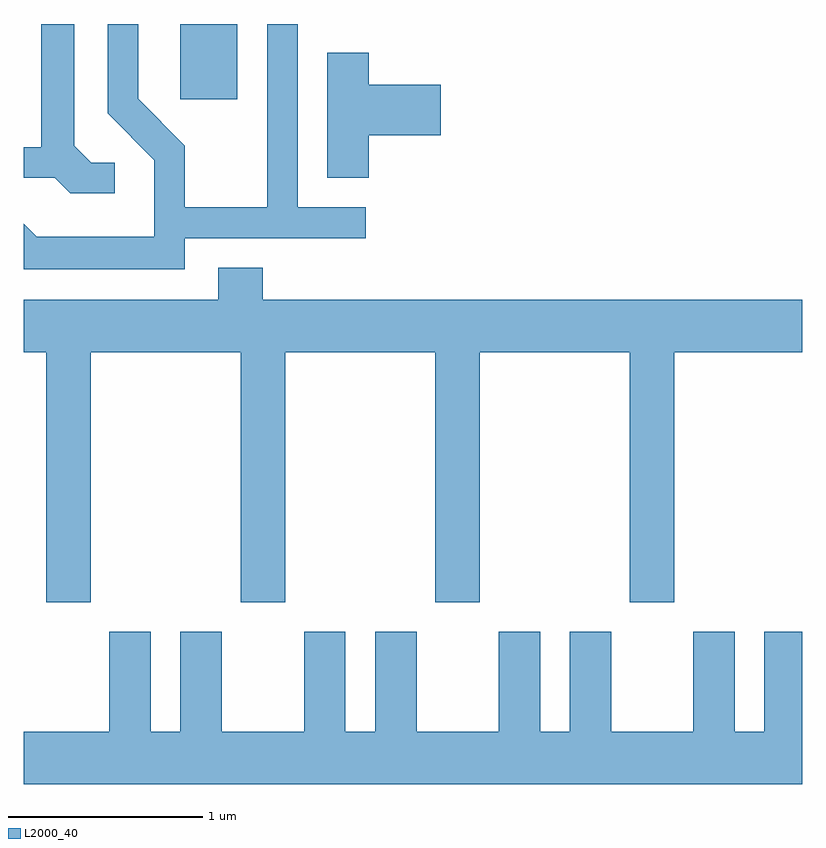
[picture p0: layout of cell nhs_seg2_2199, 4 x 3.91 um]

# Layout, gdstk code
import gdstk
lib = gdstk.Library(unit=1e-6, precision=1e-09)
def R(c, l, rs):  # rectangles x0, y0, x1, y1
    for r in rs: c.add(gdstk.rectangle(r[:2], r[2:], *l))
def P(c, l, *ps):  # polygons
    for p in ps: c.add(gdstk.Polygon(p, *l))
L2000_40 = (2000, 40)

nhs_seg2_2199 = lib.new_cell('nhs_seg2_2199')
R(nhs_seg2_2199, L2000_40, [(250.416,1027.416,250.709,1027.802)])
P(nhs_seg2_2199, L2000_40, [(250.439,1026.701),(251.368,1026.701),(251.368,1026.859),(251.019,1026.859),(251.019,1027.802),(250.861,1027.802),(250.861,1026.859),(250.439,1026.859),(250.439,1027.177),(250.199,1027.417),(250.199,1027.802),(250.041,1027.802),(250.041,1027.344),(250.281,1027.103),(250.281,1026.709),(249.677,1026.709),(249.611,1026.775),(249.611,1026.541),(250.439,1026.541)],
  [(250.078,1027.089),(249.957,1027.089),(249.869,1027.177),(249.869,1027.802),(249.701,1027.802),(249.701,1027.169),(249.611,1027.169),(249.611,1027.011),(249.769,1027.011),(249.849,1026.931),(250.078,1026.931)],
  [(251.384,1027.231),(251.754,1027.231),(251.754,1027.489),(251.384,1027.489),(251.384,1027.654),(251.171,1027.654),(251.171,1027.011),(251.384,1027.011)],
  [(249.954,1026.116),(250.726,1026.116),(250.726,1024.831),(250.954,1024.831),(250.954,1026.116),(251.726,1026.116),(251.726,1024.831),(251.954,1024.831),(251.954,1026.116),(252.726,1026.116),(252.726,1024.831),(252.954,1024.831),(252.954,1026.116),(253.611,1026.116),(253.611,1026.384),(250.839,1026.384),(250.839,1026.549),(250.611,1026.549),(250.611,1026.384),(249.611,1026.384),(249.611,1026.116),(249.726,1026.116),(249.726,1024.831),(249.954,1024.831)],
  [(253.611,1024.679),(253.416,1024.679),(253.416,1024.164),(253.264,1024.164),(253.264,1024.679),(253.051,1024.679),(253.051,1024.164),(252.629,1024.164),(252.629,1024.679),(252.416,1024.679),(252.416,1024.164),(252.264,1024.164),(252.264,1024.679),(252.051,1024.679),(252.051,1024.164),(251.629,1024.164),(251.629,1024.679),(251.416,1024.679),(251.416,1024.164),(251.264,1024.164),(251.264,1024.679),(251.051,1024.679),(251.051,1024.164),(250.629,1024.164),(250.629,1024.679),(250.416,1024.679),(250.416,1024.164),(250.264,1024.164),(250.264,1024.679),(250.051,1024.679),(250.051,1024.164),(249.611,1024.164),(249.611,1023.896),(253.611,1023.896)])

lib.write_gds('nhs_seg2_2199.gds')
